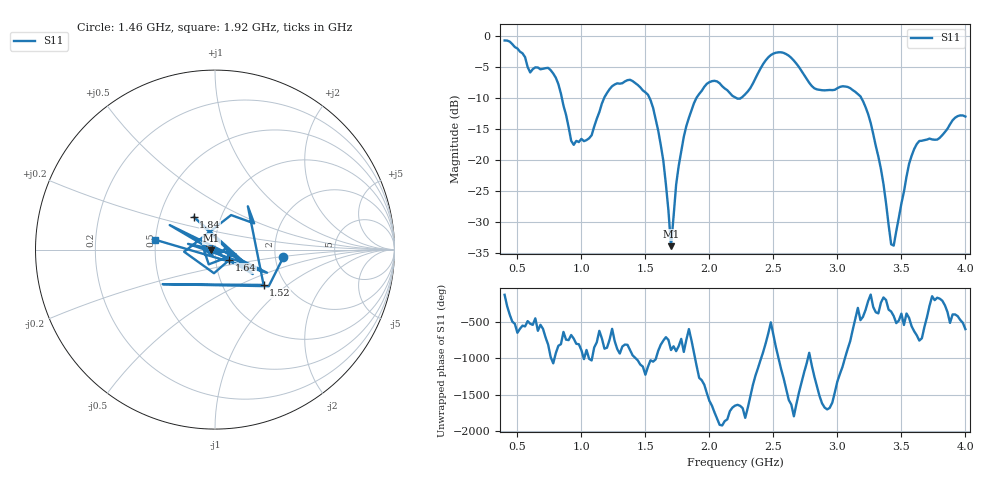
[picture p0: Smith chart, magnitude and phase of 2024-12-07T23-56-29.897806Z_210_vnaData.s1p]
!Created with skrf (http://scikit-rf.org).
# Hz S RI R 50.0
!freq ReS11 ImS11
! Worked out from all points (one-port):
!   181 points, 400 MHz to 4 GHz, reference 50 ohm
!   lowest |S11| = -33.9 dB at 1.7 GHz (marker M1), VSWR 1.04, Z = 48.1 - j0.48 ohm
!   |S11| at or under -10 dB: 846.9 MHz to 1.179 GHz (331.7 MHz wide, 32.8 % of centre); 1.531 GHz to 1.899 GHz (368 MHz wide, 21.5 % of centre); 3.186 GHz to end of sweep (the widest 3 of 4)
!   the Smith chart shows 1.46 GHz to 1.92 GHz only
!   S11 on the Smith chart (normalised r, x): 1.46 GHz: 2.22, -0.22; 1.52 GHz: 1.56, -0.69; 1.64 GHz: 1.17, -0.14; 1.84 GHz: 0.74, +0.29; 1.92 GHz: 0.50, +0.06
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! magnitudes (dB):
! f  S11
! 400 MHz  -0.8
! 600 MHz  -5.9
! 760 MHz  -5.6
! 860 MHz  -11.3
! 920 MHz  -16.9
! 1.02 GHz  -17.0
! 1.2 GHz  -9.2
! 1.3 GHz  -7.7
! 1.46 GHz  -8.3
! 1.52 GHz  -9.5
! 1.64 GHz  -20.1
! 1.7 GHz  -33.9
! 1.76 GHz  -21.0
! 1.84 GHz  -13.2
! 1.92 GHz  -9.4
! 2.04 GHz  -7.3
! 2.2 GHz  -9.9
! 2.48 GHz  -3.1
! 2.66 GHz  -4.0
! 2.82 GHz  -8.5
! 3.1 GHz  -8.5
! 3.26 GHz  -14.0
! 3.34 GHz  -21.4
! 3.42 GHz  -33.6
! 3.44 GHz  -33.8
! 3.56 GHz  -20.6
! 3.64 GHz  -17.0
! 4 GHz  -13.0
